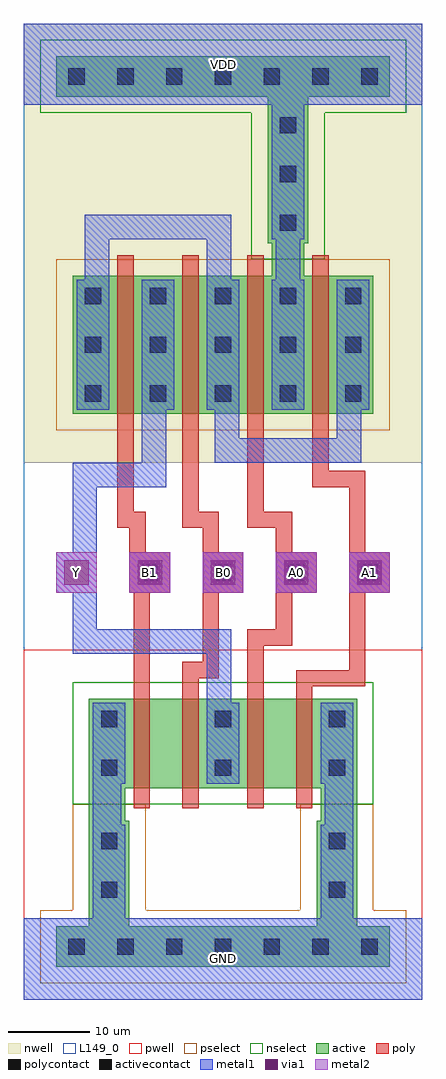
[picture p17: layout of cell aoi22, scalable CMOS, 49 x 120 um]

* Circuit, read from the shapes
.subckt aoi22 A0 A1 B0 B1 GND VDD Y
M1 n1 B1 GND GND nfet w=11u l=2u
M2 Y B0 n1 GND nfet w=11u l=2u
M3 n2 A0 Y GND nfet w=11u l=2u
M4 GND A1 n2 GND nfet w=11u l=2u
M5 Y B1 n3 VDD pfet w=17u l=2u
M6 n3 B0 Y VDD pfet w=17u l=2u
M7 VDD A0 n3 VDD pfet w=17u l=2u
M8 n3 A1 VDD VDD pfet w=17u l=2u
.ends

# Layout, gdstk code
from math import pi, radians
import gdstk
lib = gdstk.Library(unit=1e-6, precision=1e-09)
def R(c, l, rs):  # rectangles x0, y0, x1, y1
    for r in rs: c.add(gdstk.rectangle(r[:2], r[2:], *l))
def A(c, l, x, y, w, h, nx, ny, dx, dy):  # array of equal rectangles
    R(c, l, [(x+i*dx, y+j*dy, x+i*dx+w, y+j*dy+h) for i in range(nx) for j in range(ny)])
pwell = (41, 0)
nwell = (42, 0)
active = (43, 0)
pselect = (44, 0)
nselect = (45, 0)
poly = (46, 0)
polycontact = (47, 0)
activecontact = (48, 0)
metal1 = (49, 0)
via1 = (50, 0)
metal2 = (51, 0)
L149_0 = (149, 0)

via = lib.new_cell('via')
R(via, metal1, [(-2.5,-2.5,2.5,2.5)])
R(via, via1, [(-1.5,-1.5,1.5,1.5)])
R(via, metal2, [(-2.5,-2.5,2.5,2.5)])

aoi22 = lib.new_cell('aoi22')
R(aoi22, pwell, [(0,0,49,43), (2,20,47,43)])
R(aoi22, nwell, [(0,66,49,95), (0,66,49,120)])
R(aoi22, active, [(4,4,45,9), (8,9,13,22), (36,9,41,22), (8,22,12.5,26), (36.5,22,41,26), (8,26,13.5,37), (8,26,41,37), (35.5,26,41,37), (6,72,43,89), (6,72,11.5,89), (37.5,72,43,89), (30.5,89,34.5,93), (30,93,35,111), (4,111,45,116)])
R(aoi22, pselect, [(2,2,47,11), (6,11,15,24), (34,11,43,24), (4,70,45,91)])
R(aoi22, nselect, [(6,24,43,39), (28,91,37,109), (2,109,47,118)])
A(aoi22, poly, 13, 50, 5, 5, 4, 1, 9, 0)
A(aoi22, poly, 11.5, 69.5, 2, 2.5, 4, 2, 8, 19.5)
A(aoi22, poly, 11.5, 72, 2, 17, 4, 1, 8, 0)
R(aoi22, poly, [(13.5,23.5,15.5,26), (19.5,23.5,21.5,26), (27.5,23.5,29.5,26), (33.5,23.5,35.5,26), (13.5,26,15.5,37), (19.5,26,21.5,37), (27.5,26,29.5,37), (33.5,26,35.5,37), (13.5,37,15.5,39.5), (19.5,37,21.5,39.5), (27.5,37,29.5,39.5), (33.5,37,35.5,39.5)])
A(aoi22, polycontact, 14.5, 51.5, 2, 2, 4, 1, 9, 0)
A(aoi22, activecontact, 5.5, 5.5, 2, 2, 7, 2, 6, 107)
A(aoi22, activecontact, 9.5, 27.5, 2, 2, 3, 2, 14, 6)
A(aoi22, activecontact, 7.5, 73.5, 2, 2, 5, 3, 8, 6)
A(aoi22, activecontact, 31.5, 94.5, 2, 2, 1, 3, 0, 6)
R(aoi22, activecontact, [(9.5,12.5,11.5,14.5), (37.5,12.5,39.5,14.5), (9.5,18.5,11.5,20.5), (37.5,18.5,39.5,20.5)])
A(aoi22, metal1, 8.5, 26.5, 4, 10, 3, 1, 14, 0)
A(aoi22, metal1, 13.5, 50.5, 4, 4, 4, 1, 9, 0)
A(aoi22, metal1, 6.5, 72.5, 4, 16, 5, 1, 8, 0)
R(aoi22, metal1, [(0,0,49,10), (0,0,49,10), (8.5,10,12.5,21.5), (36.5,10,40.5,21.5), (8.5,21.5,12,26.5), (37,21.5,40.5,26.5), (31,88.5,34,93.5), (30.5,93.5,34.5,110), (0,110,49,120), (0,110,49,120)])
A(aoi22, metal2, 4, 50, 5, 5, 5, 1, 9, 0)
R(aoi22, L149_0, [(0,0,49,120)])
aoi22.add(gdstk.FlexPath([(25,72.5),(25,67.5),(40,67.5),(40,72.5)], 3, ends="flush", simple_path=True, layer=49, datatype=0))  # metal1
aoi22.add(gdstk.FlexPath([(16,72.5),(16,64.5),(7.5,64.5),(7.5,55)], 3, ends="flush", simple_path=True, layer=49, datatype=0))  # metal1
aoi22.add(gdstk.FlexPath([(24,88.5),(24,95),(9,95),(9,88.5)], 3, ends="flush", simple_path=True, layer=49, datatype=0))  # metal1
aoi22.add(gdstk.FlexPath([(7.5,50),(7.5,44),(24,44),(24,36.5)], 3, ends="flush", simple_path=True, layer=49, datatype=0))  # metal1
aoi22.add(gdstk.FlexPath([(14.5,39.5),(14.5,50)], 2, ends="flush", simple_path=True, layer=46, datatype=0))  # poly
aoi22.add(gdstk.FlexPath([(20.5,69.5),(20.5,59),(23,59),(23,55)], 2, ends="flush", simple_path=True, layer=46, datatype=0))  # poly
aoi22.add(gdstk.FlexPath([(41,55),(41,64),(36.5,64),(36.5,69.5)], 2, ends="flush", simple_path=True, layer=46, datatype=0))  # poly
aoi22.add(gdstk.FlexPath([(12.5,69.5),(12.5,59),(14,59),(14,55)], 2, ends="flush", simple_path=True, layer=46, datatype=0))  # poly
aoi22.add(gdstk.FlexPath([(28.5,69.5),(28.5,59),(32,59),(32,55)], 2, ends="flush", simple_path=True, layer=46, datatype=0))  # poly
aoi22.add(gdstk.FlexPath([(32,50),(32,44.5),(28.5,44.5),(28.5,39.5)], 2, ends="flush", simple_path=True, layer=46, datatype=0))  # poly
aoi22.add(gdstk.FlexPath([(33.5,39.5),(41,39.5),(41,50)], 2, ends="flush", simple_path=True, layer=46, datatype=0))  # poly
aoi22.add(gdstk.FlexPath([(23,50),(23,40.5),(19.5,40.5)], 2, ends="flush", simple_path=True, layer=46, datatype=0))  # poly
aoi22.add(gdstk.Reference(via, (6.5,52.5), rotation=pi, x_reflection=True))
aoi22.add(gdstk.Reference(via, (15.5,52.5), rotation=pi, x_reflection=True))
aoi22.add(gdstk.Reference(via, (24.5,52.5), rotation=pi, x_reflection=True))
aoi22.add(gdstk.Reference(via, (33.5,52.5), rotation=pi, x_reflection=True))
aoi22.add(gdstk.Reference(via, (42.5,52.5), rotation=pi, x_reflection=True))
aoi22.add(gdstk.Label('GND', (24.5,5), layer=2, texttype=0))
aoi22.add(gdstk.Label('VDD', (24.5,115), layer=2, texttype=0))
aoi22.add(gdstk.Label('A0', (33.5,52.5), layer=3, texttype=0))
aoi22.add(gdstk.Label('B0', (24.5,52.5), layer=3, texttype=0))
aoi22.add(gdstk.Label('B1', (15.5,52.5), layer=3, texttype=0))
aoi22.add(gdstk.Label('A1', (42.5,52.5), layer=3, texttype=0))
aoi22.add(gdstk.Label('Y', (6.5,52.5), layer=3, texttype=0))
aoi22.add(gdstk.Label('GND', (24.5,5), layer=2, texttype=0))
aoi22.add(gdstk.Label('VDD', (24.5,115), layer=2, texttype=0))
aoi22.add(gdstk.Label('A0', (33.5,52.5), layer=3, texttype=0))
aoi22.add(gdstk.Label('B0', (24.5,52.5), layer=3, texttype=0))
aoi22.add(gdstk.Label('B1', (15.5,52.5), layer=3, texttype=0))
aoi22.add(gdstk.Label('A1', (42.5,52.5), layer=3, texttype=0))
aoi22.add(gdstk.Label('Y', (6.5,52.5), layer=3, texttype=0))

lib.write_gds('aoi22.gds')
